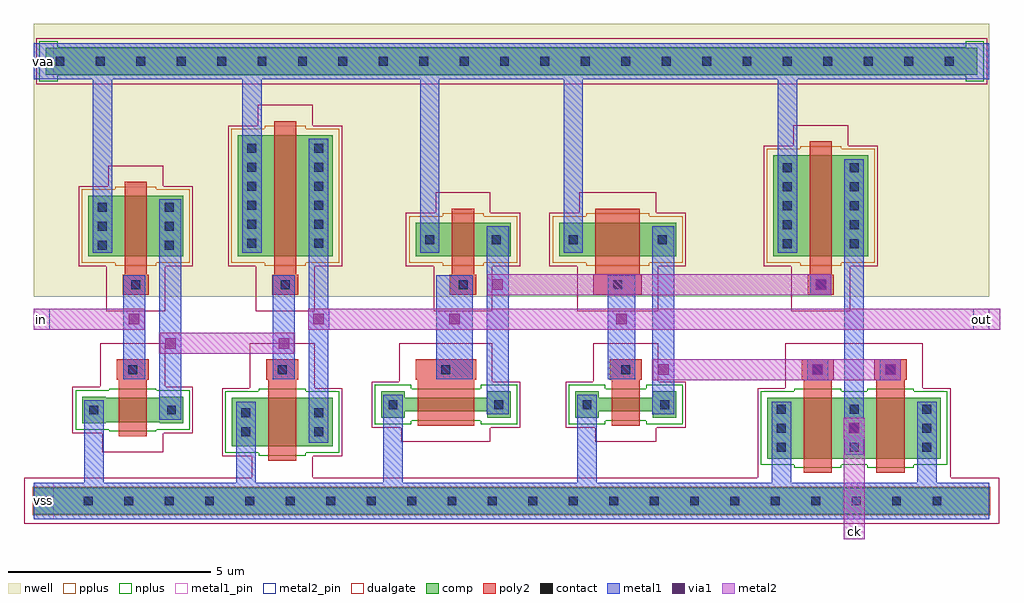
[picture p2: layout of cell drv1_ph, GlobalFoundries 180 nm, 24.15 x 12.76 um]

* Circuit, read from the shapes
.subckt drv1_ph ck in out vaa vss
XM1 n1 in vss vss nfet_06v0 w=0.6u l=0.7u
XM2 out n1 vss vss nfet_06v0 w=1.2u l=0.7u
XM3 n2 out vss vss nfet_06v0 w=0.335u l=1.4u
XM4 n3 out vss vss nfet_06v0 w=0.335u l=0.7u
XM5 ck n3 vss vss nfet_06v0 w=1.5u l=0.7u m=2
XM6 n1 in vaa vaa pfet_06v0 w=1.5u l=0.55u
XM7 out n1 vaa vaa pfet_06v0 w=3u l=0.55u
XM8 n2 out vaa vaa pfet_06v0 w=0.835u l=0.55u
XM9 n3 out vaa vaa pfet_06v0 w=0.835u l=1.1u
XM10 ck n2 vaa vaa pfet_06v0 w=2.5u l=0.55u
.ends

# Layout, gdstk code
import gdstk
lib = gdstk.Library(unit=1e-6, precision=1e-09)
def R(c, l, rs):  # rectangles x0, y0, x1, y1
    for r in rs: c.add(gdstk.rectangle(r[:2], r[2:], *l))
def A(c, l, x, y, w, h, nx, ny, dx, dy):  # array of equal rectangles
    R(c, l, [(x+i*dx, y+j*dy, x+i*dx+w, y+j*dy+h) for i in range(nx) for j in range(ny)])
nwell = (21, 0)
comp = (22, 0)
poly2 = (30, 0)
pplus = (31, 0)
nplus = (32, 0)
contact = (33, 0)
metal1 = (34, 0)
metal1_pin = (34, 10)
via1 = (35, 0)
metal2 = (36, 0)
metal2_pin = (36, 10)
dualgate = (55, 0)

drv1_ph = lib.new_cell('drv1_ph')
R(drv1_ph, nwell, [(0,5.5,23.65,12.26)])
R(drv1_ph, comp, [(0,0.12,23.65,0.78), (18.15,1.5,22.45,3), (4.9,1.8,7.4,3), (1.2,2.37,1.78,2.4), (3.12,2.37,3.7,2.4), (1.2,2.4,3.7,3), (8.6,2.505,9.18,2.665), (11.22,2.505,11.8,2.665), (13.4,2.505,13.98,2.665), (15.32,2.505,15.9,2.665), (8.6,2.665,11.8,3), (13.4,2.665,15.9,3), (1.2,3,1.78,3.03), (3.12,3,3.7,3.03), (8.6,3,9.18,3.165), (11.22,3,11.8,3.165), (13.4,3,13.98,3.165), (15.32,3,15.9,3.165), (1.35,6.5,3.7,8), (5.05,6.5,7.4,9.5), (9.45,6.5,11.8,7.335), (13,6.5,15.9,7.335), (18.3,6.5,20.65,9), (0.3,11,23.35,11.66)])
R(drv1_ph, poly2, [(19.05,1.15,19.75,3.45), (20.85,1.15,21.55,3.45), (5.8,1.45,6.5,3.45), (2.1,2.05,2.8,3.45), (9.5,2.315,10.9,3.45), (14.3,2.315,15,3.45), (2.05,3.45,2.85,3.95), (5.75,3.45,6.55,3.95), (9.45,3.45,10.95,3.95), (14.25,3.45,15.05,3.95), (19,3.45,19.8,3.95), (20.8,3.45,21.6,3.95), (2.2,5.55,2.85,6.05), (5.9,5.55,6.55,6.05), (10.3,5.55,10.95,6.05), (13.85,5.55,15.05,6.05), (19.15,5.55,19.8,6.05), (2.25,6.05,2.8,8.35), (5.95,6.05,6.5,9.85), (10.35,6.05,10.9,7.685), (13.9,6.05,15,7.685), (19.2,6.05,19.75,9.35)])
R(drv1_ph, pplus, [(-0.02,0.1,23.67,0.8), (2.02,6.27,3.03,6.34), (5.72,6.27,6.73,6.34), (10.12,6.27,11.13,6.34), (13.67,6.27,15.23,6.34), (18.97,6.27,19.98,6.34), (1.19,6.34,3.86,8.16), (4.89,6.34,7.56,9.66), (9.29,6.34,11.96,7.495), (12.84,6.34,16.06,7.495), (18.14,6.34,20.81,9.16), (10.12,7.495,11.13,7.565), (13.67,7.495,15.23,7.565), (2.02,8.16,3.03,8.23), (18.97,9.16,19.98,9.23), (5.72,9.66,6.73,9.73)])
R(drv1_ph, nplus, [(18.82,1.27,19.98,1.34), (20.62,1.27,21.78,1.34), (17.99,1.34,22.61,3.16), (5.57,1.57,6.73,1.64), (4.74,1.64,7.56,3.16), (1.87,2.17,3.03,2.21), (1.04,2.21,3.86,3.19), (8.44,2.345,9.34,2.435), (11.06,2.345,11.96,2.435), (13.24,2.345,14.14,2.435), (15.16,2.345,16.06,2.435), (8.44,2.435,11.96,3.23), (13.24,2.435,16.06,3.23), (5.57,3.16,6.73,3.23), (18.82,3.16,19.98,3.23), (20.62,3.16,21.78,3.23), (1.87,3.19,3.03,3.23), (8.44,3.23,9.34,3.325), (11.06,3.23,11.96,3.325), (13.24,3.23,14.14,3.325), (15.16,3.23,16.06,3.325), (0.14,10.84,0.59,10.98), (23.06,10.84,23.51,10.98), (0.14,10.98,23.51,11.68), (0.14,11.68,0.59,11.82), (23.06,11.68,23.51,11.82)])
A(drv1_ph, contact, 0.24, 0.34, 0.22, 0.22, 23, 1, 1, 0)
A(drv1_ph, contact, 18.39, 1.67, 0.22, 0.22, 3, 3, 1.8, 0.47)
A(drv1_ph, contact, 1.59, 6.67, 0.22, 0.22, 1, 3, 0, 0.47)
A(drv1_ph, contact, 3.24, 6.67, 0.22, 0.22, 1, 3, 0, 0.47)
A(drv1_ph, contact, 18.54, 6.7, 0.22, 0.22, 1, 5, 0, 0.47)
A(drv1_ph, contact, 20.19, 6.7, 0.22, 0.22, 1, 5, 0, 0.47)
A(drv1_ph, contact, 5.29, 6.715, 0.22, 0.22, 1, 6, 0, 0.47)
A(drv1_ph, contact, 6.94, 6.715, 0.22, 0.22, 1, 6, 0, 0.47)
A(drv1_ph, contact, 0.54, 11.22, 0.22, 0.22, 23, 1, 1, 0)
R(drv1_ph, contact, [(5.14,2.055,5.36,2.275), (6.94,2.055,7.16,2.275), (5.14,2.525,5.36,2.745), (6.94,2.525,7.16,2.745), (1.38,2.59,1.6,2.81), (3.3,2.59,3.52,2.81), (8.78,2.725,9,2.945), (11.4,2.725,11.62,2.945), (13.58,2.725,13.8,2.945), (15.5,2.725,15.72,2.945), (2.34,3.59,2.56,3.81), (6.04,3.59,6.26,3.81), (10.09,3.59,10.31,3.81), (14.54,3.59,14.76,3.81), (19.29,3.59,19.51,3.81), (21.09,3.59,21.31,3.81), (2.415,5.69,2.635,5.91), (6.115,5.69,6.335,5.91), (10.515,5.69,10.735,5.91), (14.34,5.69,14.56,5.91), (19.365,5.69,19.585,5.91), (9.69,6.805,9.91,7.025), (11.34,6.805,11.56,7.025), (13.24,6.805,13.46,7.025), (15.44,6.805,15.66,7.025)])
R(drv1_ph, metal1, [(0,0,23.65,0.9), (1.25,0.9,1.73,2.94), (5.01,0.9,5.49,2.91), (8.65,0.9,9.13,3.075), (13.45,0.9,13.93,3.075), (18.26,0.9,18.74,2.91), (21.86,0.9,22.34,2.91), (20.06,1.59,20.54,1.99), (6.81,1.89,7.29,4.69), (20.04,1.99,20.56,2.51), (3.11,2.46,3.65,7.91), (20.06,2.51,20.54,8.91), (11.21,2.595,11.75,7.245), (15.31,2.595,15.85,7.245), (19.14,3.44,19.66,3.96), (20.94,3.44,21.46,3.96), (2.21,3.46,2.765,6.04), (5.91,3.46,6.465,6.04), (9.96,3.46,10.865,6.04), (14.21,3.46,14.89,6.04), (6.79,4.69,7.31,5.21), (6.81,5.21,7.29,9.41), (19.215,5.54,19.735,6.06), (1.46,6.59,1.94,10.88), (5.16,6.59,5.64,10.88), (9.56,6.59,10.04,10.88), (13.11,6.59,13.59,10.88), (18.41,6.59,18.89,10.88), (0,10.88,23.65,11.78)])
R(drv1_ph, metal1_pin, [(0,0,0.5,0.9), (0,10.88,0.5,11.78)])
R(drv1_ph, via1, [(20.17,2.12,20.43,2.38), (15.45,3.57,15.71,3.83), (19.27,3.57,19.53,3.83), (21.07,3.57,21.33,3.83), (3.25,4.22,3.51,4.48), (6.06,4.22,6.32,4.48), (2.355,4.82,2.615,5.08), (6.92,4.82,7.18,5.08), (10.285,4.82,10.545,5.08), (14.42,4.82,14.68,5.08), (11.35,5.67,11.61,5.93), (19.345,5.67,19.605,5.93)])
R(drv1_ph, metal2, [(20.04,-0.5,20.56,2.51), (15.32,3.44,21.46,3.96), (3.12,4.09,6.45,4.61), (0,4.69,2.745,5.21), (6.79,4.69,23.91,5.21), (11.22,5.54,19.735,6.06)])
R(drv1_ph, metal2_pin, [(20.04,-0.5,20.56,-0.1), (0,4.69,0.4,5.21), (23.25,4.69,23.65,5.21)])
R(drv1_ph, dualgate, [(-0.24,-0.12,23.89,1.02), (5.4,1.02,6.9,1.56), (17.91,1.02,22.69,3.24), (4.66,1.56,7.64,3.24), (1.7,1.65,3.2,2.13), (9.1,1.915,11.3,2.265), (13.9,1.915,15.4,2.265), (0.96,2.13,3.94,3.27), (8.36,2.265,12.04,3.405), (13.16,2.265,16.14,3.405), (5.35,3.24,6.95,4.35), (18.6,3.24,22,4.35), (1.65,3.27,3.25,4.35), (9.05,3.405,11.35,4.35), (13.85,3.405,15.45,4.35), (1.8,5.15,3.25,6.26), (5.5,5.15,6.95,6.26), (9.9,5.15,11.35,6.26), (13.45,5.15,15.45,6.26), (18.75,5.15,20.2,6.26), (1.11,6.26,3.94,8.24), (4.81,6.26,7.64,9.74), (9.21,6.26,12.04,7.575), (12.76,6.26,16.14,7.575), (18.06,6.26,20.89,9.24), (9.95,7.575,11.3,8.085), (13.5,7.575,15.4,8.085), (1.85,8.24,3.2,8.75), (18.8,9.24,20.15,9.75), (5.55,9.74,6.9,10.25), (0.06,10.76,23.59,11.9)])
drv1_ph.add(gdstk.Label('vaa', (0.25,11.33), layer=34, texttype=10))
drv1_ph.add(gdstk.Label('vss', (0.25,0.45), layer=34, texttype=10))
drv1_ph.add(gdstk.Label('ck', (20.3,-0.3), layer=36, texttype=10))
drv1_ph.add(gdstk.Label('out', (23.45,4.95), layer=36, texttype=10))
drv1_ph.add(gdstk.Label('in', (0.2,4.95), layer=36, texttype=10))

lib.write_gds('drv1_ph.gds')
